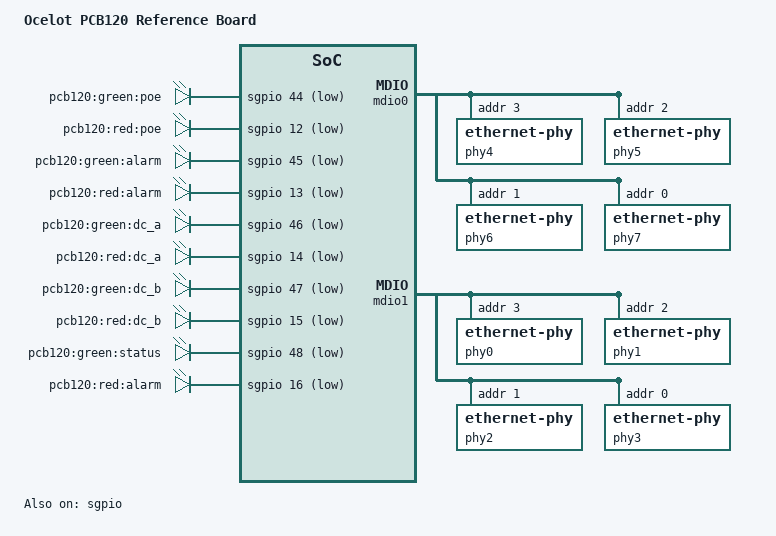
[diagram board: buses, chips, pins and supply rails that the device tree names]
// SPDX-License-Identifier: (GPL-2.0+ OR MIT)
/*
 * Copyright (c) 2018 Microsemi Corporation
 */

/dts-v1/;
#include "mscc,ocelot_pcb.dtsi"
#include <dt-bindings/mscc/ocelot_data.h>

/ {
	model = "Ocelot PCB120 Reference Board";
	compatible = "mscc,ocelot-pcb120", "mscc,ocelot";

	chosen {
		stdout-path = "serial0:115200n8";
	};

	gpio-leds {
		compatible = "gpio-leds";

		poe_green {
			label = "pcb120:green:poe";
			gpios = <&sgpio 44 1>; /* p12.1 */
			default-state = "off";
		};

		poe_red {
			label = "pcb120:red:poe";
			gpios = <&sgpio 12 1>; /* p12.0 */
			default-state = "off";
		};

		alarm_green {
			label = "pcb120:green:alarm";
			gpios = <&sgpio 45 1>; /* p13.1 */
			default-state = "off";
		};

		alarm_red {
			label = "pcb120:red:alarm";
			gpios = <&sgpio 13 1>; /* p13.0 */
			default-state = "off";
		};

		dc_a_green {
			label = "pcb120:green:dc_a";
			gpios = <&sgpio 46 1>; /* p14.1 */
			default-state = "off";
		};

		dc_a_red {
			label = "pcb120:red:dc_a";
			gpios = <&sgpio 14 1>; /* p14.0 */
			default-state = "off";
		};

		dc_b_green {
			label = "pcb120:green:dc_b";
			gpios = <&sgpio 47 1>; /* p15.1 */
			default-state = "off";
		};

		dc_b_red {
			label = "pcb120:red:dc_b";
			gpios = <&sgpio 15 1>; /* p15.0 */
			default-state = "off";
		};

		status_green {
			label = "pcb120:green:status";
			gpios = <&sgpio 48 1>; /* p16.1 */
			default-state = "on";
		};

		status_red {
			label = "pcb120:red:alarm";
			gpios = <&sgpio 16 1>; /* p16.0 */
			default-state = "off";
		};

	};

};

&sgpio {
	status = "okay";
	mscc,sgpio-ports = <0x000FFFFF>;
};

&mdio0 {
	status = "okay";

	phy4: ethernet-phy@4 {
		reg = <3>;
	};
	phy5: ethernet-phy@5 {
		reg = <2>;
	};
	phy6: ethernet-phy@6 {
		reg = <1>;
	};
	phy7: ethernet-phy@7 {
		reg = <0>;
	};
};

&mdio1 {
	status = "okay";

	phy0: ethernet-phy@0 {
		reg = <3>;
	};
	phy1: ethernet-phy@1 {
		reg = <2>;
	};
	phy2: ethernet-phy@2 {
		reg = <1>;
	};
	phy3: ethernet-phy@3 {
		reg = <0>;
	};
};

&switch {
	ethernet-ports {
		port0: port@0 {
			reg = <5>;
			phy-handle = <&phy0>;
			phys = <&serdes_hsio 5 SERDES1G(2) PHY_MODE_SGMII>;
		};
		port1: port@1 {
			reg = <9>;
			phy-handle = <&phy1>;
			phys = <&serdes_hsio 9 SERDES1G(3) PHY_MODE_SGMII>;
		};
		port2: port@2 {
			reg = <6>;
			phy-handle = <&phy2>;
			phys = <&serdes_hsio 6 SERDES1G(4) PHY_MODE_SGMII>;
		};
		port3: port@3 {
			reg = <4>;
			phy-handle = <&phy3>;
			phys = <&serdes_hsio 4 SERDES1G(5) PHY_MODE_SGMII>;
		};
		port4: port@4 {
			reg = <3>;
			phy-handle = <&phy4>;
		};
		port5: port@5 {
			reg = <2>;
			phy-handle = <&phy5>;
		};
		port6: port@6 {
			reg = <1>;
			phy-handle = <&phy6>;
		};
		port7: port@7 {
			reg = <0>;
			phy-handle = <&phy7>;
		};
	};
};
